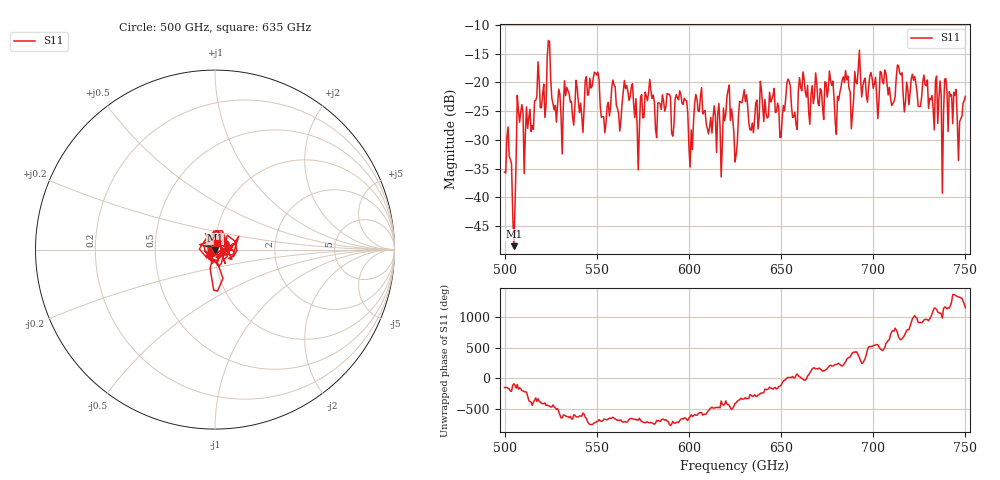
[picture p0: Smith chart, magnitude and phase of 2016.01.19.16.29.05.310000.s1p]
!Created with skrf (http://scikit-rf.org).
# GHz S RI R 50.0
!freq ReS11 ImS11
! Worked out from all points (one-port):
!   401 points, 500 GHz to 750 GHz, reference 50 ohm
!   lowest |S11| = -48.5 dB at 505 GHz (marker M1), VSWR 1.01, Z = 50 - j0.376 ohm
!   |S11| at or under -10 dB: start of sweep to end of sweep
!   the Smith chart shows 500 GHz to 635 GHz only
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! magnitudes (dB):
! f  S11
! 500 GHz  -35.6
! 502.5 GHz  -32.9
! 505 GHz  -48.5
! 508.1 GHz  -26.9
! 511.9 GHz  -24.3
! 524.4 GHz  -12.9
! 526.9 GHz  -24.8
! 531.2 GHz  -32.4
! 549.4 GHz  -18.4
! 553.8 GHz  -26.0
! 558.8 GHz  -19.6
! 562.5 GHz  -28.5
! 565.6 GHz  -21.1
! 571.9 GHz  -27.2
! 593.8 GHz  -22.7
! 601.2 GHz  -28.3
! 605.6 GHz  -25.1
! 618.1 GHz  -30.8
! 621.9 GHz  -20.5
! 625 GHz  -33.8
! 630 GHz  -21.3
! 633.8 GHz  -28.3
! 656.2 GHz  -26.1
! 687.5 GHz  -21.7
! 691.2 GHz  -20.2
! 718.8 GHz  -21.2
! 746.9 GHz  -26.8
! 750 GHz  -22.4
